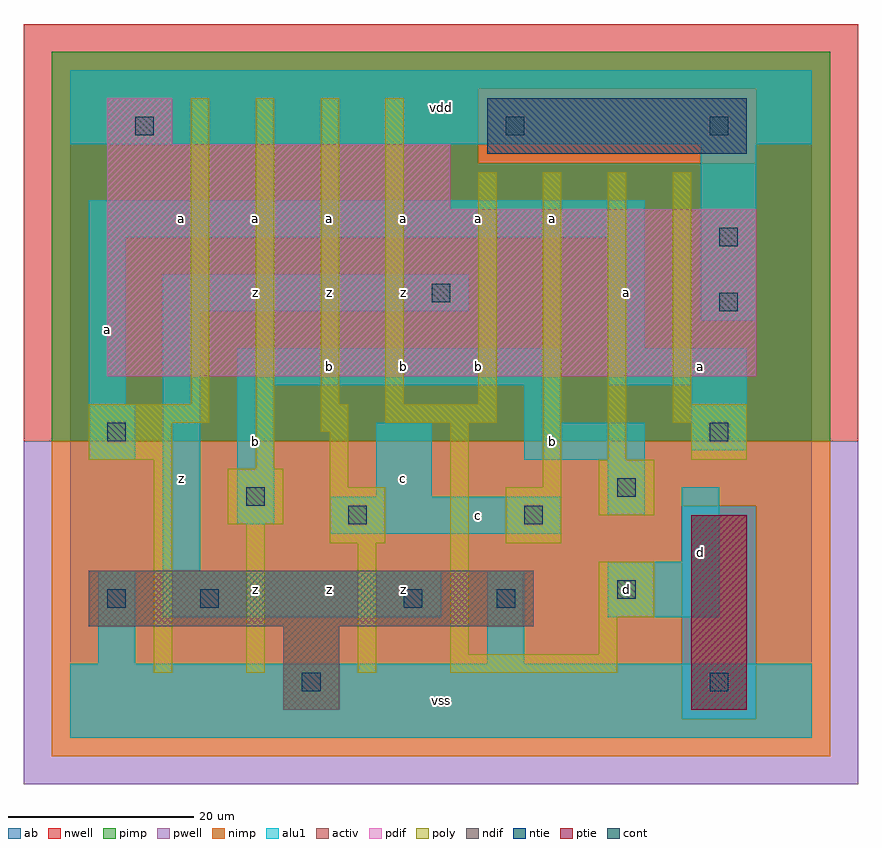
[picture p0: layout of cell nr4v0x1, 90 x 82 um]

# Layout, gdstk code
import gdstk
lib = gdstk.Library(unit=1e-6, precision=1e-09)
def R(c, l, rs):  # rectangles x0, y0, x1, y1
    for r in rs: c.add(gdstk.rectangle(r[:2], r[2:], *l))
ndif = (3, 0)
pdif = (4, 0)
ntie = (5, 0)
ptie = (6, 0)
cont = (25, 0)
pwell = (41, 0)
nwell = (42, 0)
activ = (43, 0)
pimp = (44, 0)
nimp = (45, 0)
poly = (46, 0)
alu1 = (49, 0)
ab = (63, 0)

nr4v0x1 = lib.new_cell('nr4v0x1')
R(nr4v0x1, ndif, [(23,3,29,12), (2,12,50,18)])
R(nr4v0x1, pdif, [(4,39,74,57), (4,57,41,64), (4,64,11,69)])
R(nr4v0x1, ntie, [(45,63,73,69)])
R(nr4v0x1, ptie, [(67,3,73,24)])
R(nr4v0x1, cont, [(25,5,27,7), (69,5,71,7), (4,14,6,16), (14,14,16,16), (36,14,38,16), (46,14,48,16), (59,15,61,17), (30,23,32,25), (49,23,51,25), (19,25,21,27), (59,26,61,28), (4,32,6,34), (69,32,71,34), (70,46,72,48), (39,47,41,49), (70,53,72,55), (7,65,9,67), (47,65,49,67), (69,65,71,67)])
R(nr4v0x1, pwell, [(-5,-5,85,32)])
R(nr4v0x1, nwell, [(-5,32,85,77)])
R(nr4v0x1, activ, [(23,3,29,12), (67,3,73,24), (2,12,50,18), (4,39,74,57), (4,57,41,64), (45,63,73,69), (4,64,11,69)])
R(nr4v0x1, pimp, [(66,2,74,25), (-2,32,82,62), (-2,62,44,70), (74,62,82,70), (-2,70,82,74)])
R(nr4v0x1, nimp, [(-2,-2,82,2), (-2,2,66,25), (74,2,82,25), (-2,25,82,32), (44,62,74,70)])
R(nr4v0x1, poly, [(9,7,11,30), (19,7,21,23), (31,7,33,21), (41,7,59,9), (41,9,43,34), (57,9,59,13), (57,13,63,19), (28,21,34,27), (47,21,53,27), (17,23,23,29), (57,24,63,30), (28,27,30,33), (51,27,53,61), (20,29,22,69), (2,30,11,34), (58,30,60,61), (67,30,73,34), (27,33,30,36), (2,34,15,36), (34,34,46,36), (65,34,73,36), (13,36,15,69), (27,36,29,69), (34,36,36,69), (44,36,46,61), (65,36,67,61)])
R(nr4v0x1, alu1, [(0,0,80,8), (3,8,7,18), (45,8,49,18), (10,13,40,18), (58,13,70,19), (10,18,14,46), (66,19,70,27), (28,22,53,26), (18,23,22,38), (58,24,62,30), (33,26,39,34), (2,30,7,36), (49,30,62,34), (67,31,73,38), (49,34,53,38), (2,36,6,54), (18,38,53,42), (58,38,73,42), (58,42,62,54), (68,45,74,64), (10,46,43,50), (2,54,62,58), (0,64,80,72)])
R(nr4v0x1, ab, [(0,0,80,72)])
nr4v0x1.add(gdstk.Label('a', (4,44), layer=49, texttype=0))
nr4v0x1.add(gdstk.Label('z', (28,16), layer=49, texttype=0))
nr4v0x1.add(gdstk.Label('z', (20,16), layer=49, texttype=0))
nr4v0x1.add(gdstk.Label('b', (20,32), layer=49, texttype=0))
nr4v0x1.add(gdstk.Label('z', (12,28), layer=49, texttype=0))
nr4v0x1.add(gdstk.Label('b', (28,40), layer=49, texttype=0))
nr4v0x1.add(gdstk.Label('z', (28,48), layer=49, texttype=0))
nr4v0x1.add(gdstk.Label('z', (20,48), layer=49, texttype=0))
nr4v0x1.add(gdstk.Label('a', (28,56), layer=49, texttype=0))
nr4v0x1.add(gdstk.Label('a', (20,56), layer=49, texttype=0))
nr4v0x1.add(gdstk.Label('a', (12,56), layer=49, texttype=0))
nr4v0x1.add(gdstk.Label('vss', (40,4), layer=49, texttype=0))
nr4v0x1.add(gdstk.Label('z', (36,16), layer=49, texttype=0))
nr4v0x1.add(gdstk.Label('c', (44,24), layer=49, texttype=0))
nr4v0x1.add(gdstk.Label('c', (36,28), layer=49, texttype=0))
nr4v0x1.add(gdstk.Label('b', (44,40), layer=49, texttype=0))
nr4v0x1.add(gdstk.Label('b', (36,40), layer=49, texttype=0))
nr4v0x1.add(gdstk.Label('z', (36,48), layer=49, texttype=0))
nr4v0x1.add(gdstk.Label('a', (44,56), layer=49, texttype=0))
nr4v0x1.add(gdstk.Label('a', (36,56), layer=49, texttype=0))
nr4v0x1.add(gdstk.Label('vdd', (40,68), layer=49, texttype=0))
nr4v0x1.add(gdstk.Label('d', (60,16), layer=49, texttype=0))
nr4v0x1.add(gdstk.Label('b', (52,32), layer=49, texttype=0))
nr4v0x1.add(gdstk.Label('a', (60,48), layer=49, texttype=0))
nr4v0x1.add(gdstk.Label('a', (52,56), layer=49, texttype=0))
nr4v0x1.add(gdstk.Label('d', (68,20), layer=49, texttype=0))
nr4v0x1.add(gdstk.Label('a', (68,40), layer=49, texttype=0))

lib.write_gds('nr4v0x1.gds')
